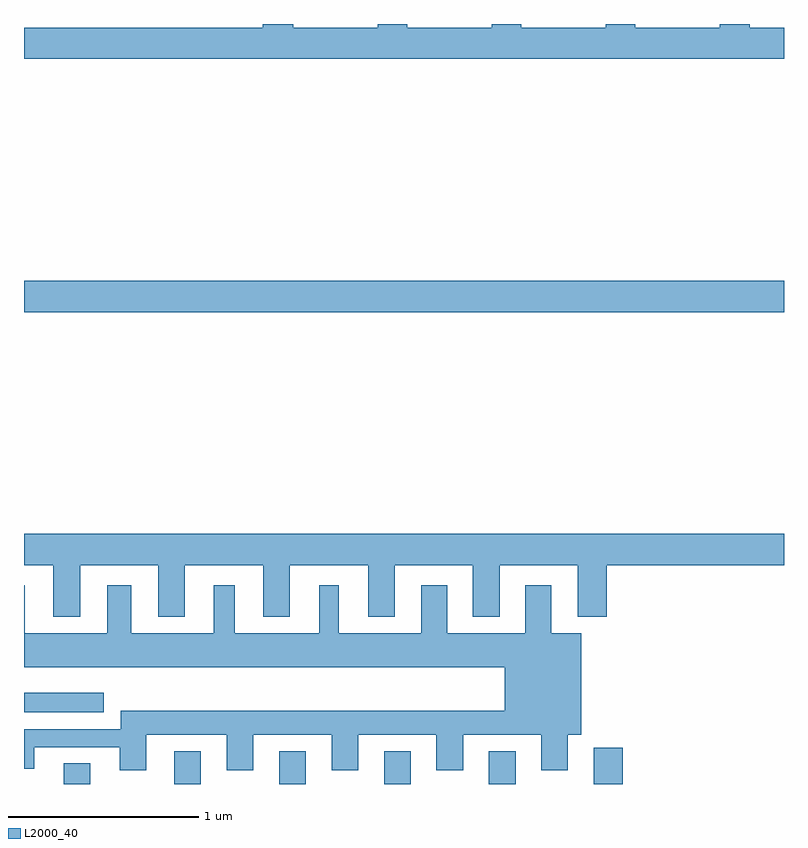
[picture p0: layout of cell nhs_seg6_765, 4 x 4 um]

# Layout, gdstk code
import gdstk
lib = gdstk.Library(unit=1e-6, precision=1e-09)
def R(c, l, rs):  # rectangles x0, y0, x1, y1
    for r in rs: c.add(gdstk.rectangle(r[:2], r[2:], *l))
def A(c, l, x, y, w, h, nx, ny, dx, dy):  # array of equal rectangles
    R(c, l, [(x+i*dx, y+j*dy, x+i*dx+w, y+j*dy+h) for i in range(nx) for j in range(ny)])
def P(c, l, *ps):  # polygons
    for p in ps: c.add(gdstk.Polygon(p, *l))
L2000_40 = (2000, 40)

nhs_seg6_765 = lib.new_cell('nhs_seg6_765')
A(nhs_seg6_765, L2000_40, 159.791, 963.5, 0.14, 0.173, 4, 1, 0.552, 0)
R(nhs_seg6_765, L2000_40, [(159.209,963.5,159.349,963.608), (161.999,963.5,162.152,963.691), (159,963.878,159.421,963.979), (159,965.984,163,966.148)])
P(nhs_seg6_765, L2000_40, [(163,967.48),(162.821,967.48),(162.821,967.5),(162.661,967.5),(162.661,967.48),(162.216,967.48),(162.216,967.5),(162.061,967.5),(162.061,967.48),(161.616,967.48),(161.616,967.5),(161.461,967.5),(161.461,967.48),(161.016,967.48),(161.016,967.5),(160.861,967.5),(160.861,967.48),(160.416,967.48),(160.416,967.5),(160.256,967.5),(160.256,967.48),(159,967.48),(159,967.316),(163,967.316)],
  [(159.295,964.652),(159.707,964.652),(159.707,964.379),(159.847,964.379),(159.847,964.652),(160.259,964.652),(160.259,964.379),(160.399,964.379),(160.399,964.652),(160.811,964.652),(160.811,964.379),(160.951,964.379),(160.951,964.652),(161.363,964.652),(161.363,964.379),(161.503,964.379),(161.503,964.652),(161.915,964.652),(161.915,964.379),(162.068,964.379),(162.068,964.652),(163,964.652),(163,964.816),(159,964.816),(159,964.652),(159.155,964.652),(159.155,964.379),(159.295,964.379)],
  [(159.643,963.758),(160.067,963.758),(160.067,963.573),(160.207,963.573),(160.207,963.758),(160.619,963.758),(160.619,963.573),(160.759,963.573),(160.759,963.758),(161.171,963.758),(161.171,963.573),(161.311,963.573),(161.311,963.758),(161.723,963.758),(161.723,963.573),(161.863,963.573),(161.863,963.758),(161.932,963.758),(161.932,964.294),(161.776,964.294),(161.776,964.546),(161.639,964.546),(161.639,964.294),(161.227,964.294),(161.227,964.546),(161.09,964.546),(161.09,964.294),(160.657,964.294),(160.657,964.546),(160.553,964.546),(160.553,964.294),(160.108,964.294),(160.108,964.546),(159.998,964.546),(159.998,964.294),(159.565,964.294),(159.565,964.546),(159.437,964.546),(159.437,964.294),(159.004,964.294),(159.004,964.546),(159,964.546),(159,964.115),(161.531,964.115),(161.531,963.886),(159.509,963.886),(159.509,963.789),(159,963.789),(159,963.581),(159.055,963.581),(159.055,963.693),(159.503,963.693),(159.503,963.573),(159.643,963.573)])

lib.write_gds('nhs_seg6_765.gds')
